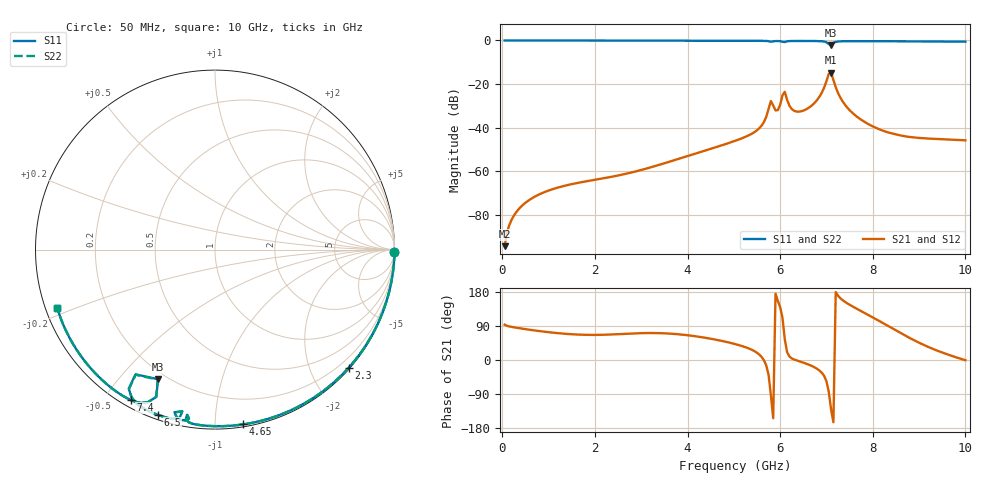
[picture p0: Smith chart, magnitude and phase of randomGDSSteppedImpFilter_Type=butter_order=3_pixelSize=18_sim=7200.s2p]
! freq	dB(S11)	phase(S11)	dB(S12)	phase(S12)
!  dB(S21)	phase(S21)	dB(S22)	phase(S22)
!S-par simulation data
#  GHz  S  DB  R 50
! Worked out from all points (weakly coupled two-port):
!   200 points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, 50 MHz to 10 GHz, reference 50 ohm
!   highest |S21| = -14.81 dB at 7.1 GHz (marker M1); lowest = -94.3 dB at 50 MHz (marker M2)
!   lowest |S11| = -2.1 dB at 7.1 GHz (marker M3), VSWR 8.47, Z = 8.37 - j32 ohm
!   |S11| at or under -10 dB: nowhere
!   |S22| runs from -2.0 to 0.0 dB; largest |S21 - S12| = 0
!   S11 on the Smith chart (normalised r, x): 50 MHz: open; 2.3 GHz: 0.02, -2.65; 4.65 GHz: 0.02, -1.18; 6.5 GHz: 0.02, -0.71; 7.4 GHz: 0.03, -0.58; 10 GHz: 0.03, -0.18
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0.05  -0.00 -0.9  -94.29 93.2  -94.29 93.2  -0.00 -0.9
0.25  -0.00 -4.6  -80.30 86.3  -80.30 86.3  -0.00 -4.6
0.9  -0.02 -16.5  -69.60 74.8  -69.60 74.8  -0.02 -16.5
1.75  -0.04 -31.7  -64.80 66.6  -64.80 66.6  -0.04 -31.7
2.3  -0.05 -41.4  -62.73 67.1  -62.73 67.1  -0.05 -41.4
3.4  -0.08 -60.2  -56.94 70.8  -56.94 70.8  -0.08 -60.2
4.65  -0.12 -80.8  -48.67 52.6  -48.67 52.6  -0.12 -80.7
5.05  -0.13 -87.2  -45.83 41.3  -45.83 41.3  -0.13 -87.2
5.55  -0.17 -95.5  -40.23 14.3  -40.23 14.3  -0.17 -95.5
5.7  -0.23 -98.5  -34.97 -14.2  -34.97 -14.2  -0.23 -98.5
5.8  -0.60 -99.6  -27.76 -93.3  -27.76 -93.3  -0.60 -99.5
5.95  -0.28 -101.3  -31.93 156.1  -31.93 156.1  -0.28 -101.3
6.1  -0.74 -101.5  -23.53 54.6  -23.53 54.6  -0.73 -101.4
6.25  -0.24 -104.4  -31.42 4.2  -31.42 4.2  -0.24 -104.3
6.5  -0.23 -109.1  -32.16 -6.9  -32.16 -6.9  -0.23 -109.0
6.7  -0.25 -112.9  -29.50 -16.7  -29.50 -16.7  -0.25 -112.8
7  -0.81 -121.8  -18.63 -56.2  -18.63 -56.2  -0.80 -121.7
7.1  -2.06 -113.7  -14.81 -130.8  -14.81 -130.8  -2.03 -113.7
7.4  -0.35 -119.3  -29.47 153.4  -29.47 153.4  -0.35 -119.3
7.75  -0.33 -125.6  -36.35 129.0  -36.35 129.0  -0.33 -125.5
8.35  -0.37 -134.8  -42.26 88.4  -42.26 88.4  -0.37 -134.8
10  -0.56 -159.7  -45.77 -0.6  -45.77 -0.6  -0.56 -159.6
